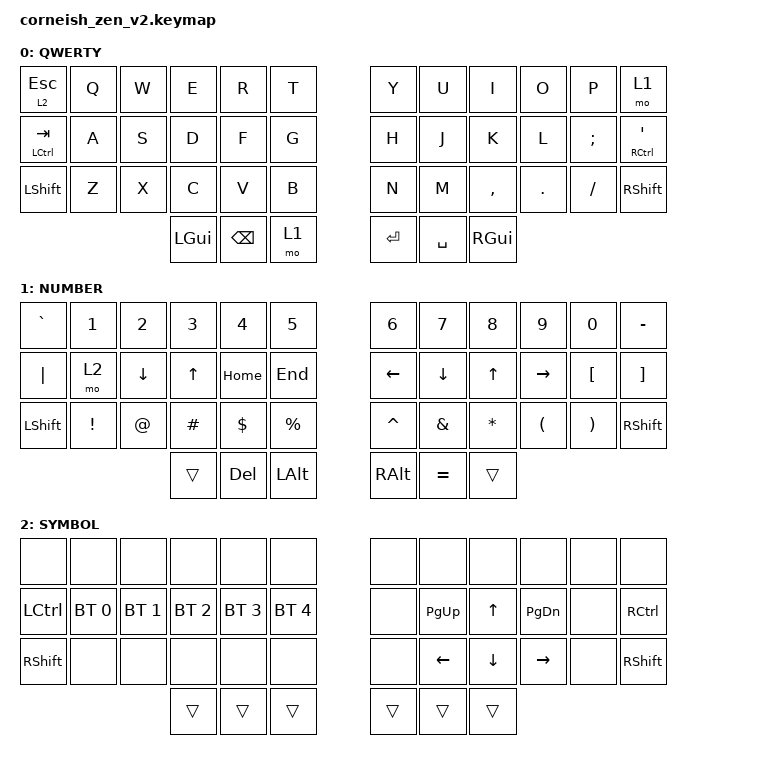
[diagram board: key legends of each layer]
/*
*
* Copyright (c) 2021 Darryl deHaan
* SPDX-License-Identifier: MIT
*
*/

#include <behaviors.dtsi>
#include <dt-bindings/zmk/keys.h>
#include <dt-bindings/zmk/bt.h>

/ {
        keymap {
                compatible = "zmk,keymap";

                default_layer {
                        label = "QWERTY";

                        bindings = <
   &lt 2 ESC     &kp Q &kp W &kp E &kp R &kp T   &kp Y &kp U  &kp I     &kp O   &kp P    &mo 1
   &mt LCTRL TAB &kp A &kp S &kp D &kp F &kp G   &kp H &kp J  &kp K     &kp L   &kp SEMI &mt RCTRL SQT
   &kp LSHFT     &kp Z &kp X &kp C &kp V &kp B   &kp N &kp M  &kp COMMA &kp DOT &kp FSLH &kp RSHFT
                 &kp LGUI &kp BSPC &mo 1          &kp RET &kp SPACE &kp RGUI
                        >;
                };
                lower_layer {
                        label = "NUMBER";

                        bindings = <
   &kp GRAVE     &kp N1       &kp N2       &kp N3       &kp N4       &kp N5         &kp N6    &kp N7    &kp N8    &kp N9    &kp N0   &kp MINUS
   &kp PIPE      &mo 2        &kp DOWN     &kp UP       &kp HOME     &kp END        &kp LEFT  &kp DOWN  &kp UP    &kp RIGHT &kp LBKT &kp RBKT
   &kp LSHFT     &kp EXCL     &kp AT       &kp HASH     &kp DLLR     &kp PRCNT      &kp CARET &kp AMPS  &kp STAR  &kp LPAR  &kp RPAR &kp RSHIFT
                                           &trans       &kp DEL      &kp LALT       &kp RALT  &kp EQUAL &trans
                        >;
                };

                raise_layer {
                        label = "SYMBOL";

                        bindings = <
   &none     &none        &none        &none        &none        &none             &none  &none     &none    &none     &none  &none  
   &kp LCTRL &bt BT_SEL 0 &bt BT_SEL 1 &bt BT_SEL 2 &bt BT_SEL 3 &bt BT_SEL 4      &none  &kp PG_UP &kp UP   &kp PG_DN &none  &kp RCTRL 
   &kp RSHFT &none        &none        &none        &none        &none             &none  &kp LEFT  &kp DOWN &kp RIGHT &none  &kp RSHFT
                                    &trans       &trans       &trans                 &trans &trans &trans
                        >;
                };
        };
};
